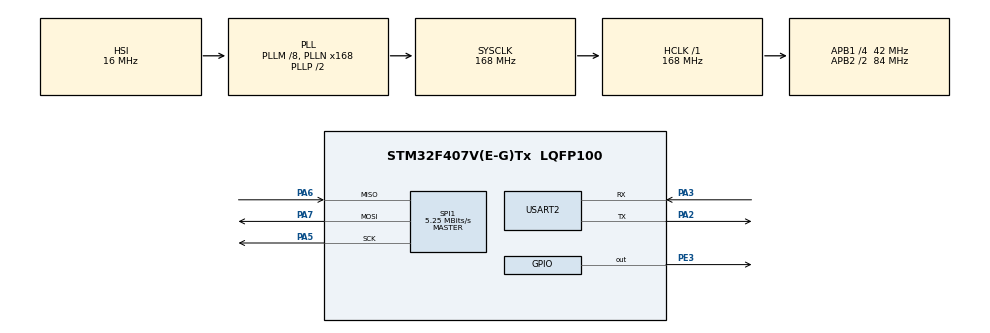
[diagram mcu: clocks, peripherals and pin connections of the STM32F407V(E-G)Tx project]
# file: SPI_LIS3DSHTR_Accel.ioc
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Mcu.Family=STM32F4
Mcu.Name=STM32F407V(E-G)Tx
Mcu.Package=LQFP100
NVIC.PriorityGroup=NVIC_PRIORITYGROUP_4
PA2.Mode=Asynchronous
PA2.Signal=USART2_TX
PA3.Mode=Asynchronous
PA3.Signal=USART2_RX
PA5.Mode=Full_Duplex_Master
PA5.Signal=SPI1_SCK
PA6.Mode=Full_Duplex_Master
PA6.Signal=SPI1_MISO
PA7.Mode=Full_Duplex_Master
PA7.Signal=SPI1_MOSI
PE3.Signal=GPIO_Output
ProjectManager.HeapSize=0x200
ProjectManager.StackSize=0x400
ProjectManager.TargetToolchain=STM32CubeIDE
RCC.48MHZClocksFreq_Value=84000000
RCC.AHBFreq_Value=168000000
RCC.APB1CLKDivider=RCC_HCLK_DIV4
RCC.APB1Freq_Value=42000000
RCC.APB1TimFreq_Value=84000000
RCC.APB2CLKDivider=RCC_HCLK_DIV2
RCC.APB2Freq_Value=84000000
RCC.APB2TimFreq_Value=168000000
RCC.CortexFreq_Value=168000000
RCC.HCLKFreq_Value=168000000
RCC.HSE_VALUE=25000000
RCC.HSI_VALUE=16000000
RCC.LSE_VALUE=32768
RCC.PLLM=8
RCC.PLLN=168
RCC.SYSCLKFreq_VALUE=168000000
RCC.SYSCLKSource=RCC_SYSCLKSOURCE_PLLCLK
RCC.VCOOutputFreq_Value=336000000
SPI1.BaudRatePrescaler=SPI_BAUDRATEPRESCALER_16
SPI1.CLKPhase=SPI_PHASE_2EDGE
SPI1.CLKPolarity=SPI_POLARITY_HIGH
SPI1.CalculateBaudRate=5.25 MBits/s
SPI1.Direction=SPI_DIRECTION_2LINES
SPI1.Mode=SPI_MODE_MASTER
SPI1.VirtualType=VM_MASTER
USART2.VirtualMode=VM_ASYNC
board=custom

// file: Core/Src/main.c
/* USER CODE BEGIN Header */
/**
  ******************************************************************************
  * @file           : main.c
  * @brief          : Main program body
  ******************************************************************************
  * @attention
  *
  * Copyright (c) 2026 STMicroelectronics.
  * All rights reserved.
  *
  * This software is licensed under terms that can be found in the LICENSE file
  * in the root directory of this software component.
  * If no LICENSE file comes with this software, it is provided AS-IS.
  *
  ******************************************************************************
  */
/* USER CODE END Header */
#include "main.h"

/* USER CODE BEGIN Includes */
#include <stdio.h>
/* USER CODE END Includes */

/* USER CODE BEGIN PD */
#define CS_LOW() HAL_GPIO_WritePin(GPIOE, GPIO_PIN_3, GPIO_PIN_RESET)
#define CS_HIGH() HAL_GPIO_WritePin(GPIOE, GPIO_PIN_3, GPIO_PIN_SET)
/* USER CODE END PD */

SPI_HandleTypeDef hspi1;

UART_HandleTypeDef huart2;

void SystemClock_Config(void);
static void MX_GPIO_Init(void);
static void MX_SPI1_Init(void);
static void MX_USART2_UART_Init(void);

int main(void)
{

  /* MCU Configuration--------------------------------------------------------*/

  /* Reset of all peripherals, Initializes the Flash interface and the Systick. */
  HAL_Init();

  /* Configure the system clock */
  SystemClock_Config();

  /* Initialize all configured peripherals */
  MX_GPIO_Init();
  MX_SPI1_Init();
  MX_USART2_UART_Init();
  /* USER CODE BEGIN 2 */
  printf("SPI scan start:");
  //CS_HIGH(); 	//Ideal State
  	HAL_Delay(10);

  	uint8_t tx = 0x8F; //RW=1, address=0x0F
  	uint8_t rx = 0;

  	CS_LOW();
  	HAL_SPI_Transmit(&hspi1, &tx, 1, HAL_MAX_DELAY);
  	HAL_SPI_Receive(&hspi1, &rx, 1, HAL_MAX_DELAY);
  	CS_HIGH();

  	printf("WHO_AM_I: 0x%02X\r\n", rx);

  	void LIS3_WriteReg(uint8_t reg, uint8_t data)
  	{
  	    /* Force bit 7 to 0 using & 0x7F this sets RW=0 (write mode).
  	     * Even if reg is passed with bit 7 set by mistake, the mask
  	     * guarantees the chip always sees a write command. */
  	    uint8_t tx[2] = { reg & 0x7F, data };
  	    CS_LOW();
  	    HAL_SPI_Transmit(&hspi1, tx, 2, HAL_MAX_DELAY);
  	    CS_HIGH();
  	}

  	uint8_t LIS3_ReadReg(uint8_t reg)
  	{
  	    /* Force bit 7 to 1 using | 0x80 this sets RW=1 (read mode).
  	     * Guarantees the chip always sees a read command regardless
  	     * of what is passed in. */
  	    uint8_t tx = reg | 0x80;
  	    uint8_t rx = 0;
  	    CS_LOW();
  	    HAL_SPI_Transmit(&hspi1, &tx, 1, HAL_MAX_DELAY);
  	    HAL_SPI_Receive(&hspi1, &rx, 1, HAL_MAX_DELAY);
  	    CS_HIGH();
  	    return rx;
  	}

  	CS_HIGH(); // CS idles HIGH — keeps chip in SPI mode, not I2C
  	HAL_Delay(10);

  	/* Write 0x67 to CTRL_REG4 (0x20):
  	 * ODR3=0, ODR2=1, ODR1=1, ODR0=0 → 100 Hz output data rate
  	 * BDU=0 → continuous update
  	 * Zen=1, Yen=1, Xen=1 → all axes enabled
  	 * Binary: 0110 0111 = 0x67 */
  	LIS3_WriteReg(0x20, 0x67);
  	HAL_Delay(10); // wait for first sample
  /* USER CODE END 2 */

  /* Infinite loop */
  /* USER CODE BEGIN WHILE */
  while (1)
  {
	  /* Each axis is 16-bit, split across two 8-bit registers (L and H).
	       * Read H first, shift left 8, OR with L to combine into int16_t. */
	      int16_t x = (int16_t)(LIS3_ReadReg(0x29) << 8 | LIS3_ReadReg(0x28));
	      int16_t y = (int16_t)(LIS3_ReadReg(0x2B) << 8 | LIS3_ReadReg(0x2A));
	      int16_t z = (int16_t)(LIS3_ReadReg(0x2D) << 8 | LIS3_ReadReg(0x2C));

	      printf("X: %d  Y: %d  Z: %d\r\n", x, y, z);
	      HAL_Delay(100);
    /* USER CODE END WHILE */

  }
}

void SystemClock_Config(void)
{
  RCC_OscInitTypeDef RCC_OscInitStruct = {0};
  RCC_ClkInitTypeDef RCC_ClkInitStruct = {0};

  /** Configure the main internal regulator output voltage
  */
  __HAL_RCC_PWR_CLK_ENABLE();
  __HAL_PWR_VOLTAGESCALING_CONFIG(PWR_REGULATOR_VOLTAGE_SCALE1);

  /** Initializes the RCC Oscillators according to the specified parameters
  * in the RCC_OscInitTypeDef structure.
  */
  RCC_OscInitStruct.OscillatorType = RCC_OSCILLATORTYPE_HSI;
  RCC_OscInitStruct.HSIState = RCC_HSI_ON;
  RCC_OscInitStruct.HSICalibrationValue = RCC_HSICALIBRATION_DEFAULT;
  RCC_OscInitStruct.PLL.PLLState = RCC_PLL_ON;
  RCC_OscInitStruct.PLL.PLLSource = RCC_PLLSOURCE_HSI;
  RCC_OscInitStruct.PLL.PLLM = 8;
  RCC_OscInitStruct.PLL.PLLN = 168;
  RCC_OscInitStruct.PLL.PLLP = RCC_PLLP_DIV2;
  RCC_OscInitStruct.PLL.PLLQ = 4;
  if (HAL_RCC_OscConfig(&RCC_OscInitStruct) != HAL_OK)
  {
    Error_Handler();
  }

  /** Initializes the CPU, AHB and APB buses clocks
  */
  RCC_ClkInitStruct.ClockType = RCC_CLOCKTYPE_HCLK|RCC_CLOCKTYPE_SYSCLK
                              |RCC_CLOCKTYPE_PCLK1|RCC_CLOCKTYPE_PCLK2;
  RCC_ClkInitStruct.SYSCLKSource = RCC_SYSCLKSOURCE_PLLCLK;
  RCC_ClkInitStruct.AHBCLKDivider = RCC_SYSCLK_DIV1;
  RCC_ClkInitStruct.APB1CLKDivider = RCC_HCLK_DIV4;
  RCC_ClkInitStruct.APB2CLKDivider = RCC_HCLK_DIV2;

  if (HAL_RCC_ClockConfig(&RCC_ClkInitStruct, FLASH_LATENCY_5) != HAL_OK)
  {
    Error_Handler();
  }
}

static void MX_SPI1_Init(void)
{

  /* SPI1 parameter configuration*/
  hspi1.Instance = SPI1;
  hspi1.Init.Mode = SPI_MODE_MASTER;
  hspi1.Init.Direction = SPI_DIRECTION_2LINES;
  hspi1.Init.DataSize = SPI_DATASIZE_8BIT;
  hspi1.Init.CLKPolarity = SPI_POLARITY_HIGH;
  hspi1.Init.CLKPhase = SPI_PHASE_2EDGE;
  hspi1.Init.NSS = SPI_NSS_SOFT;
  hspi1.Init.BaudRatePrescaler = SPI_BAUDRATEPRESCALER_16;
  hspi1.Init.FirstBit = SPI_FIRSTBIT_MSB;
  hspi1.Init.TIMode = SPI_TIMODE_DISABLE;
  hspi1.Init.CRCCalculation = SPI_CRCCALCULATION_DISABLE;
  hspi1.Init.CRCPolynomial = 10;
  if (HAL_SPI_Init(&hspi1) != HAL_OK)
  {
    Error_Handler();
  }

}

static void MX_USART2_UART_Init(void)
{

  huart2.Instance = USART2;
  huart2.Init.BaudRate = 115200;
  huart2.Init.WordLength = UART_WORDLENGTH_8B;
  huart2.Init.StopBits = UART_STOPBITS_1;
  huart2.Init.Parity = UART_PARITY_NONE;
  huart2.Init.Mode = UART_MODE_TX_RX;
  huart2.Init.HwFlowCtl = UART_HWCONTROL_NONE;
  huart2.Init.OverSampling = UART_OVERSAMPLING_16;
  if (HAL_UART_Init(&huart2) != HAL_OK)
  {
    Error_Handler();
  }

}

static void MX_GPIO_Init(void)
{
  GPIO_InitTypeDef GPIO_InitStruct = {0};

  /* GPIO Ports Clock Enable */
  __HAL_RCC_GPIOE_CLK_ENABLE();
  __HAL_RCC_GPIOA_CLK_ENABLE();

  /*Configure GPIO pin Output Level */
  HAL_GPIO_WritePin(GPIOE, GPIO_PIN_3, GPIO_PIN_RESET);

  /*Configure GPIO pin : PE3 */
  GPIO_InitStruct.Pin = GPIO_PIN_3;
  GPIO_InitStruct.Mode = GPIO_MODE_OUTPUT_PP;
  GPIO_InitStruct.Pull = GPIO_NOPULL;
  GPIO_InitStruct.Speed = GPIO_SPEED_FREQ_LOW;
  HAL_GPIO_Init(GPIOE, &GPIO_InitStruct);

}

/* USER CODE BEGIN 4 */
int _write(int file, char *ptr, int len)
 {
     HAL_UART_Transmit(&huart2, (uint8_t*)ptr, len, HAL_MAX_DELAY);
     return len;
 }

/* USER CODE END 4 */

void Error_Handler(void)
{
  __disable_irq();
  while (1)
  {
  }
}
